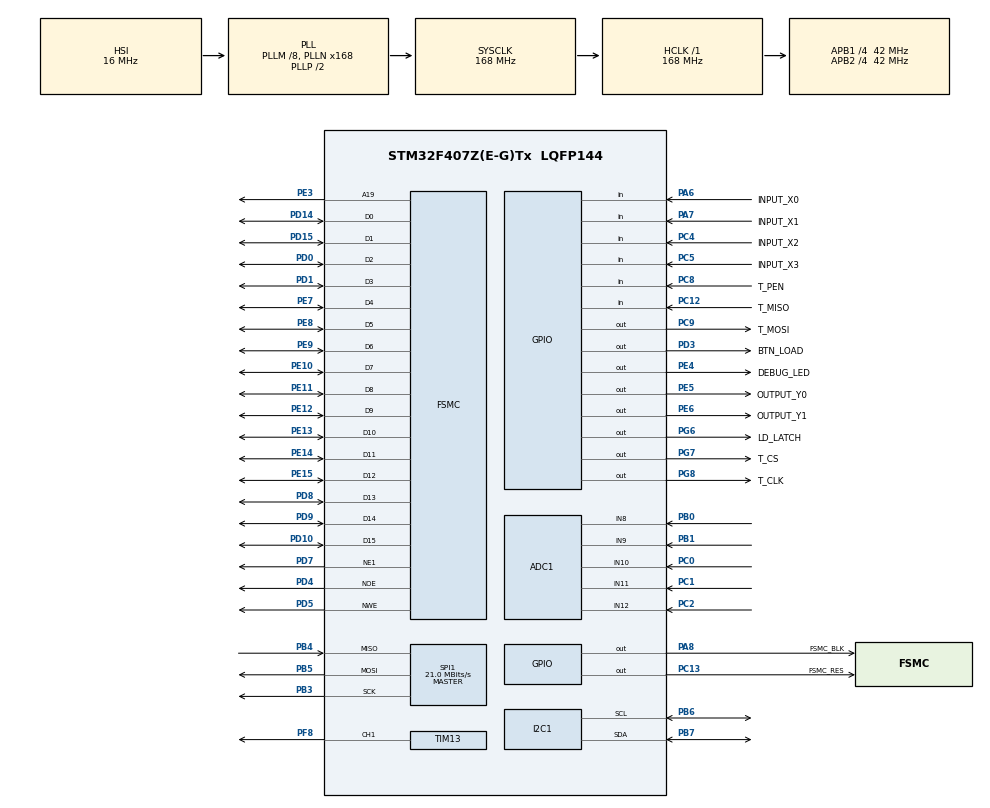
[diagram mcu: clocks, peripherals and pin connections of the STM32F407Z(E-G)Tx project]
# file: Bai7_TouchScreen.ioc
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ADC1.Channel-0\#ChannelRegularConversion=ADC_CHANNEL_8
ADC1.Channel-1\#ChannelRegularConversion=ADC_CHANNEL_9
ADC1.Channel-2\#ChannelRegularConversion=ADC_CHANNEL_10
ADC1.Channel-3\#ChannelRegularConversion=ADC_CHANNEL_11
ADC1.Channel-4\#ChannelRegularConversion=ADC_CHANNEL_12
ADC1.NbrOfConversion=5
ADC1.NbrOfConversionFlag=1
ADC1.Rank-0\#ChannelRegularConversion=1
ADC1.Rank-1\#ChannelRegularConversion=2
ADC1.Rank-2\#ChannelRegularConversion=3
ADC1.Rank-3\#ChannelRegularConversion=4
ADC1.Rank-4\#ChannelRegularConversion=5
ADC1.SamplingTime-0\#ChannelRegularConversion=ADC_SAMPLETIME_3CYCLES
ADC1.SamplingTime-1\#ChannelRegularConversion=ADC_SAMPLETIME_3CYCLES
ADC1.SamplingTime-2\#ChannelRegularConversion=ADC_SAMPLETIME_3CYCLES
ADC1.SamplingTime-3\#ChannelRegularConversion=ADC_SAMPLETIME_3CYCLES
ADC1.SamplingTime-4\#ChannelRegularConversion=ADC_SAMPLETIME_3CYCLES
ADC1.ScanConvMode=ENABLE
ADC1.master=1
Dma.ADC1.0.Direction=DMA_PERIPH_TO_MEMORY
Dma.ADC1.0.FIFOMode=DMA_FIFOMODE_DISABLE
Dma.ADC1.0.Instance=DMA2_Stream0
Dma.ADC1.0.MemDataAlignment=DMA_MDATAALIGN_HALFWORD
Dma.ADC1.0.MemInc=DMA_MINC_ENABLE
Dma.ADC1.0.Mode=DMA_CIRCULAR
Dma.ADC1.0.PeriphDataAlignment=DMA_PDATAALIGN_HALFWORD
Dma.ADC1.0.PeriphInc=DMA_PINC_DISABLE
Dma.ADC1.0.Priority=DMA_PRIORITY_LOW
Dma.Request0=ADC1
FSMC.AddressSetupTime1=0xf
FSMC.BusTurnAroundDuration1=0
FSMC.DataSetupTime1=60
FSMC.ExtendedAddressSetupTime1=8
FSMC.ExtendedBusTurnAroundDuration1=0
FSMC.ExtendedDataSetupTime1=9
FSMC.ExtendedMode1=FSMC_EXTENDED_MODE_ENABLE
I2C1.I2C_Mode=I2C_Standard
Mcu.Family=STM32F4
Mcu.Name=STM32F407Z(E-G)Tx
Mcu.Package=LQFP144
NVIC.DMA2_Stream0_IRQn=true\:0\:0\:false\:false\:true\:false\:true
NVIC.PriorityGroup=NVIC_PRIORITYGROUP_4
NVIC.TIM2_IRQn=true\:0\:0\:false\:false\:true\:true\:true
PA13.Mode=Serial_Wire
PA13.Signal=SYS_JTMS-SWDIO
PA14.Mode=Serial_Wire
PA14.Signal=SYS_JTCK-SWCLK
PA6.GPIO_Label=INPUT_X0
PA6.Signal=GPIO_Input
PA7.GPIO_Label=INPUT_X1
PA7.Signal=GPIO_Input
PA8.GPIO_Label=FSMC_BLK
PA8.Signal=GPIO_Output
PB0.Signal=ADCx_IN8
PB1.Signal=ADCx_IN9
PB3.Mode=Full_Duplex_Master
PB3.Signal=SPI1_SCK
PB4.Mode=Full_Duplex_Master
PB4.Signal=SPI1_MISO
PB5.Mode=Full_Duplex_Master
PB5.Signal=SPI1_MOSI
PB6.Mode=I2C
PB6.Signal=I2C1_SCL
PB7.Mode=I2C
PB7.Signal=I2C1_SDA
PC0.Signal=ADCx_IN10
PC1.Signal=ADCx_IN11
PC12.GPIO_Label=T_MISO
PC12.GPIO_PuPd=GPIO_PULLUP
PC12.Signal=GPIO_Input
PC13-ANTI_TAMP.GPIO_Label=FSMC_RES
PC13-ANTI_TAMP.Signal=GPIO_Output
PC2.Signal=ADCx_IN12
PC4.GPIO_Label=INPUT_X2
PC4.Signal=GPIO_Input
PC5.GPIO_Label=INPUT_X3
PC5.Signal=GPIO_Input
PC8.GPIO_Label=T_PEN
PC8.GPIO_PuPd=GPIO_PULLUP
PC8.Signal=GPIO_Input
PC9.GPIO_Label=T_MOSI
PC9.Signal=GPIO_Output
PD0.Signal=FSMC_D2_DA2
PD1.Signal=FSMC_D3_DA3
PD10.Signal=FSMC_D15_DA15
PD14.Signal=FSMC_D0_DA0
PD15.Signal=FSMC_D1_DA1
PD3.GPIO_Label=BTN_LOAD
PD3.Signal=GPIO_Output
PD4.Signal=FSMC_NOE
PD5.Signal=FSMC_NWE
PD7.Mode=NorPsramChipSelect1_1
PD7.Signal=FSMC_NE1
PD8.Signal=FSMC_D13_DA13
PD9.Signal=FSMC_D14_DA14
PE10.Signal=FSMC_D7_DA7
PE11.Signal=FSMC_D8_DA8
PE12.Signal=FSMC_D9_DA9
PE13.Signal=FSMC_D10_DA10
PE14.Signal=FSMC_D11_DA11
PE15.Signal=FSMC_D12_DA12
PE3.Signal=FSMC_A19
PE4.GPIO_Label=DEBUG_LED
PE4.Signal=GPIO_Output
PE5.GPIO_Label=OUTPUT_Y0
PE5.Signal=GPIO_Output
PE6.GPIO_Label=OUTPUT_Y1
PE6.Signal=GPIO_Output
PE7.Signal=FSMC_D4_DA4
PE8.Signal=FSMC_D5_DA5
PE9.Signal=FSMC_D6_DA6
PF8.Signal=S_TIM13_CH1
PG6.GPIO_Label=LD_LATCH
PG6.Signal=GPIO_Output
PG7.GPIO_Label=T_CS
PG7.Signal=GPIO_Output
PG8.GPIO_Label=T_CLK
PG8.Signal=GPIO_Output
PH0-OSC_IN.Mode=HSE-External-Oscillator
PH0-OSC_IN.Signal=RCC_OSC_IN
PH1-OSC_OUT.Mode=HSE-External-Oscillator
PH1-OSC_OUT.Signal=RCC_OSC_OUT
ProjectManager.HeapSize=0x200
ProjectManager.StackSize=0x400
ProjectManager.TargetToolchain=STM32CubeIDE
RCC.48MHZClocksFreq_Value=84000000
RCC.AHBFreq_Value=168000000
RCC.APB1CLKDivider=RCC_HCLK_DIV4
RCC.APB1Freq_Value=42000000
RCC.APB1TimFreq_Value=84000000
RCC.APB2CLKDivider=RCC_HCLK_DIV4
RCC.APB2Freq_Value=42000000
RCC.APB2TimFreq_Value=84000000
RCC.CortexFreq_Value=168000000
RCC.HCLKFreq_Value=168000000
RCC.HSE_VALUE=8000000
RCC.HSI_VALUE=16000000
RCC.LSE_VALUE=32768
RCC.PLLM=8
RCC.PLLN=168
RCC.SYSCLKFreq_VALUE=168000000
RCC.SYSCLKSource=RCC_SYSCLKSOURCE_PLLCLK
RCC.VCOOutputFreq_Value=336000000
SH.ADCx_IN10.0=ADC1_IN10,IN10
SH.ADCx_IN11.0=ADC1_IN11,IN11
SH.ADCx_IN12.0=ADC1_IN12,IN12
SH.ADCx_IN8.0=ADC1_IN8,IN8
SH.ADCx_IN9.0=ADC1_IN9,IN9
SH.FSMC_A19.0=FSMC_A19,A19_1
SH.FSMC_D0_DA0.0=FSMC_D0,16b-d1
SH.FSMC_D10_DA10.0=FSMC_D10,16b-d1
SH.FSMC_D11_DA11.0=FSMC_D11,16b-d1
SH.FSMC_D12_DA12.0=FSMC_D12,16b-d1
SH.FSMC_D13_DA13.0=FSMC_D13,16b-d1
SH.FSMC_D14_DA14.0=FSMC_D14,16b-d1
SH.FSMC_D15_DA15.0=FSMC_D15,16b-d1
SH.FSMC_D1_DA1.0=FSMC_D1,16b-d1
SH.FSMC_D2_DA2.0=FSMC_D2,16b-d1
SH.FSMC_D3_DA3.0=FSMC_D3,16b-d1
SH.FSMC_D4_DA4.0=FSMC_D4,16b-d1
SH.FSMC_D5_DA5.0=FSMC_D5,16b-d1
SH.FSMC_D6_DA6.0=FSMC_D6,16b-d1
SH.FSMC_D7_DA7.0=FSMC_D7,16b-d1
SH.FSMC_D8_DA8.0=FSMC_D8,16b-d1
SH.FSMC_D9_DA9.0=FSMC_D9,16b-d1
SH.FSMC_NOE.0=FSMC_NOE,Lcd1
SH.FSMC_NWE.0=FSMC_NWE,Lcd1
SH.S_TIM13_CH1.0=TIM13_CH1,PWM Generation1 CH1
SPI1.BaudRatePrescaler=SPI_BAUDRATEPRESCALER_2
SPI1.CalculateBaudRate=21.0 MBits/s
SPI1.Direction=SPI_DIRECTION_2LINES
SPI1.Mode=SPI_MODE_MASTER
SPI1.VirtualType=VM_MASTER
TIM1.Prescaler=84-1
TIM13.Channel=TIM_CHANNEL_1
TIM13.Period=100-1
TIM13.Prescaler=840-1
TIM2.Period=100-1
TIM2.Prescaler=840-1
VP_TIM13_VS_ClockSourceINT.Mode=Enable_Timer
VP_TIM1_VS_ClockSourceINT.Mode=Internal
VP_TIM2_VS_ClockSourceINT.Mode=Internal
board=custom

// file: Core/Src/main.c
/* USER CODE BEGIN Header */
/**
  ******************************************************************************
  * @file           : main.c
  * @brief          : Main program body
  ******************************************************************************
  * @attention
  *
  * <h2><center>&copy; Copyright (c) 2023 STMicroelectronics.
  * All rights reserved.</center></h2>
  *
  * This software component is licensed by ST under BSD 3-Clause license,
  * the "License"; You may not use this file except in compliance with the
  * License. You may obtain a copy of the License at:
  *                        opensource.org/licenses/BSD-3-Clause
  *
  ******************************************************************************
  */
/* USER CODE END Header */
#include "main.h"
#include "adc.h"
#include "dma.h"
#include "i2c.h"
#include "spi.h"
#include "tim.h"
#include "gpio.h"
#include "fsmc.h"

/* USER CODE BEGIN Includes */
#include "software_timer.h"
#include "led_7seg.h"
#include "button.h"
#include "lcd.h"
#include "picture.h"
#include "ds3231.h"
#include "sensor.h"
#include "buzzer.h"
#include "touch.h"
/* USER CODE END Includes */

/* USER CODE BEGIN PM */
#define GRID_SIZE 10
#define GRID_WIDTH 24
#define GRID_HEIGHT 32
#define SNAKE_MAX_LENGTH 100
/* USER CODE END PM */

/* USER CODE BEGIN PV */
typedef struct {
    int x;
    int y;
} Point;

typedef enum {
    STATE_INIT,
    STATE_GAME,
    STATE_END
} GameState;

typedef enum {
    DIR_UP,
    DIR_DOWN,
    DIR_LEFT,
    DIR_RIGHT
} Direction;

GameState gameState = STATE_INIT;
Direction snakeDirection = DIR_RIGHT;

Point snake[SNAKE_MAX_LENGTH];
int snakeLength = 3;
Point food;

uint8_t isGameOver = 0;
/* USER CODE END PV */

void SystemClock_Config(void);
/* USER CODE BEGIN PFP */
void system_init();
void test_LedDebug();
uint8_t isButtonClear();

void handleInitState();
void handleGameState();
void handleEndState();
void updateSnake();
void drawGame();
uint8_t isButtonTouched(int x1, int y1, int x2, int y2);
void generateFood();
void checkCollision();
/* USER CODE END PFP */

int main(void)
{

  /* MCU Configuration--------------------------------------------------------*/

  /* Reset of all peripherals, Initializes the Flash interface and the Systick. */
  HAL_Init();

  /* Configure the system clock */
  SystemClock_Config();

  /* Initialize all configured peripherals */
  MX_GPIO_Init();
  MX_TIM2_Init();
  MX_SPI1_Init();
  MX_FSMC_Init();
  MX_I2C1_Init();
  MX_TIM13_Init();
  MX_DMA_Init();
  MX_ADC1_Init();
  MX_TIM1_Init();
  /* USER CODE BEGIN 2 */
  system_init();
  /* USER CODE END 2 */

  /* Infinite loop */
  /* USER CODE BEGIN WHILE */
 touch_Adjust();
 lcd_Clear(BLACK);
 while (1)
  {
		 touch_Scan();

		 switch (gameState) {
			 case STATE_INIT:
				 handleInitState();
				 break;
			 case STATE_GAME:
				 handleGameState();
				 break;
			 case STATE_END:
				 handleEndState();
				 break;
		 }

    /* USER CODE END WHILE */

  }
}

void SystemClock_Config(void)
{
  RCC_OscInitTypeDef RCC_OscInitStruct = {0};
  RCC_ClkInitTypeDef RCC_ClkInitStruct = {0};

  /** Configure the main internal regulator output voltage
  */
  __HAL_RCC_PWR_CLK_ENABLE();
  __HAL_PWR_VOLTAGESCALING_CONFIG(PWR_REGULATOR_VOLTAGE_SCALE1);
  /** Initializes the RCC Oscillators according to the specified parameters
  * in the RCC_OscInitTypeDef structure.
  */
  RCC_OscInitStruct.OscillatorType = RCC_OSCILLATORTYPE_HSI;
  RCC_OscInitStruct.HSIState = RCC_HSI_ON;
  RCC_OscInitStruct.HSICalibrationValue = RCC_HSICALIBRATION_DEFAULT;
  RCC_OscInitStruct.PLL.PLLState = RCC_PLL_ON;
  RCC_OscInitStruct.PLL.PLLSource = RCC_PLLSOURCE_HSI;
  RCC_OscInitStruct.PLL.PLLM = 8;
  RCC_OscInitStruct.PLL.PLLN = 168;
  RCC_OscInitStruct.PLL.PLLP = RCC_PLLP_DIV2;
  RCC_OscInitStruct.PLL.PLLQ = 4;
  if (HAL_RCC_OscConfig(&RCC_OscInitStruct) != HAL_OK)
  {
    Error_Handler();
  }
  /** Initializes the CPU, AHB and APB buses clocks
  */
  RCC_ClkInitStruct.ClockType = RCC_CLOCKTYPE_HCLK|RCC_CLOCKTYPE_SYSCLK
                              |RCC_CLOCKTYPE_PCLK1|RCC_CLOCKTYPE_PCLK2;
  RCC_ClkInitStruct.SYSCLKSource = RCC_SYSCLKSOURCE_PLLCLK;
  RCC_ClkInitStruct.AHBCLKDivider = RCC_SYSCLK_DIV1;
  RCC_ClkInitStruct.APB1CLKDivider = RCC_HCLK_DIV4;
  RCC_ClkInitStruct.APB2CLKDivider = RCC_HCLK_DIV4;

  if (HAL_RCC_ClockConfig(&RCC_ClkInitStruct, FLASH_LATENCY_5) != HAL_OK)
  {
    Error_Handler();
  }
}

/* USER CODE BEGIN 4 */
void system_init(){
	  timer_init();
	  button_init();
	  lcd_init();
	  touch_init();
	  setTimer2(250);
}

uint8_t count_led_debug = 0;

void test_LedDebug(){
	count_led_debug = (count_led_debug + 1)%20;
	if(count_led_debug == 0){
		HAL_GPIO_TogglePin(DEBUG_LED_GPIO_Port, DEBUG_LED_Pin);
	}
}

uint8_t isButtonClear(){
	if(!touch_IsTouched()) return 0;
	return touch_GetX() > 60 && touch_GetX() < 180 && touch_GetY() > 10 && touch_GetY() < 60;
}

//void gameProcess(){
//	switch (game_Status) {
//		case INIT:
//                // display blue button
//			lcd_Fill(60, 10, 180, 60, GBLUE);
//			lcd_ShowStr(90, 20, "Start", RED, BLACK, 24, 1);
//			game_Status = START;
//			break;
//		case START:
//			if(isButtonClear()){
//				draw_Status = CLEAR;
//                    // clear board
//				lcd_Fill(0, 60, 240, 320, BLACK);
//                    // display green button
//				lcd_Fill(60, 10, 180, 60, GREEN);
//				lcd_ShowStr(90, 20, "CLEAR", RED, BLACK, 24, 1);
//			}
//			break;
//		case END:
//			if(!touch_IsTouched()) game_Status = INIT;
//			break;
//		default:
//			break;
//	}
//}

void handleInitState() {
    lcd_Clear(BLACK);
    lcd_ShowStr(60, 160, "SNAKE GAME", GREEN, BLACK, 24, 1);
    lcd_Fill(60, 10, 180, 60, BLUE);
    lcd_ShowStr(90, 20, "START", WHITE, BLUE, 24, 1);

    if (isButtonTouched(60, 10, 180, 60)) { // Start button
        snakeLength = 3;
        snake[0] = (Point){10, 10};
        snake[1] = (Point){9, 10};
        snake[2] = (Point){8, 10};
        snakeDirection = DIR_RIGHT;
        generateFood();
        isGameOver = 0;
        gameState = STATE_GAME;
        lcd_Clear(BLACK);
    }
}

/**
  * @brief Handle the GAME state.
  */
void handleGameState() {
    // Game logic
    if (flag_timer2 == 1) {
        flag_timer2 = 0;
        updateSnake();
        checkCollision();

        if (isGameOver) {
            gameState = STATE_END;
        } else {
            drawGame();
        }
    }

    if (isButtonTouched(40, 260, 80, 300)) snakeDirection = DIR_LEFT;  // Left
    if (isButtonTouched(90, 260, 130, 300)) snakeDirection = DIR_UP;    // Up
    if (isButtonTouched(140, 260, 180, 300)) snakeDirection = DIR_RIGHT; // Right
    if (isButtonTouched(190, 260, 230, 300)) snakeDirection = DIR_DOWN;  // Down
}

/**
  * @brief Handle the END state.
  */
void handleEndState() {
    lcd_Clear(BLACK);
    lcd_ShowStr(60, 160, "GAME OVER", RED, BLACK, 24, 1);
    lcd_Fill(60, 10, 180, 60, BLUE);
    lcd_ShowStr(90, 20, "RESTART", WHITE, BLUE, 24, 1);

    if (isButtonTouched(60, 10, 180, 60)) { // Restart button
        gameState = STATE_INIT;
    }
}

/**
  * @brief Update the snake's position.
  */
void updateSnake() {
    for (int i = snakeLength - 1; i > 0; i--) {
        snake[i] = snake[i - 1];
    }

    // Update head position
    if (snakeDirection == DIR_UP) snake[0].y--;
    if (snakeDirection == DIR_DOWN) snake[0].y++;
    if (snakeDirection == DIR_LEFT) snake[0].x--;
    if (snakeDirection == DIR_RIGHT) snake[0].x++;
}

/**
  * @brief Check for collisions and handle game events.
  */
void checkCollision() {
    // Check collision with food
    if (snake[0].x == food.x && snake[0].y == food.y) {
        snakeLength++;
        generateFood();
    }

    // Check collision with walls
    if (snake[0].x < 0 || snake[0].x >= GRID_WIDTH || snake[0].y < 0 || snake[0].y >= GRID_HEIGHT) {
        isGameOver = 1;
    }

    // Check collision with itself
    for (int i = 1; i < snakeLength; i++) {
        if (snake[0].x == snake[i].x && snake[0].y == snake[i].y) {
            isGameOver = 1;
            break;
        }
    }
}

/**
  * @brief Draw the game elements on the LCD.
  */
void drawGame() {
    lcd_Clear(BLACK);

    // Draw snake
    for (int i = 0; i < snakeLength; i++) {
        lcd_Fill(snake[i].x * GRID_SIZE, snake[i].y * GRID_SIZE,
                 (snake[i].x + 1) * GRID_SIZE, (snake[i].y + 1) * GRID_SIZE, GREEN);
    }

    // Draw food
    lcd_Fill(food.x * GRID_SIZE, food.y * GRID_SIZE,
             (food.x + 1) * GRID_SIZE, (food.y + 1) * GRID_SIZE, RED);

    // Draw controls in a single row: L, U, R, D
    int buttonWidth = 40;
    int buttonHeight = 40;
    int yPosition = 260;
    int xStart = 40;
    int spacing = 10;

    // Left button
    lcd_Fill(xStart, yPosition, xStart + buttonWidth, yPosition + buttonHeight, BLUE);
    lcd_ShowStr(xStart + 10, yPosition + 10, "L", WHITE, BLUE, 24, 1);

    // Up button
    lcd_Fill(xStart + buttonWidth + spacing, yPosition, xStart + 2 * buttonWidth + spacing, yPosition + buttonHeight, BLUE);
    lcd_ShowStr(xStart + buttonWidth + spacing + 10, yPosition + 10, "U", WHITE, BLUE, 24, 1);

    // Right button
    lcd_Fill(xStart + 2 * (buttonWidth + spacing), yPosition, xStart + 3 * buttonWidth + 2 * spacing, yPosition + buttonHeight, BLUE);
    lcd_ShowStr(xStart + 2 * (buttonWidth + spacing) + 10, yPosition + 10, "R", WHITE, BLUE, 24, 1);

    // Down button
    lcd_Fill(xStart + 3 * (buttonWidth + spacing), yPosition, xStart + 4 * buttonWidth + 3 * spacing, yPosition + buttonHeight, BLUE);
    lcd_ShowStr(xStart + 3 * (buttonWidth + spacing) + 10, yPosition + 10, "D", WHITE, BLUE, 24, 1);
}

/**
  * @brief Generate a new food position.
  */
void generateFood() {
    food.x = rand() % GRID_WIDTH;
    food.y = rand() % GRID_HEIGHT;
}

/**
  * @brief Check if a button is touched.
  */
uint8_t isButtonTouched(int x1, int y1, int x2, int y2) {
    return touch_IsTouched() &&
           touch_GetX() > x1 && touch_GetX() < x2 &&
           touch_GetY() > y1 && touch_GetY() < y2;
}
/* USER CODE END 4 */

void Error_Handler(void)
{
  __disable_irq();
  while (1)
  {
  }
}

/************************ (C) COPYRIGHT STMicroelectronics *****END OF FILE****/
